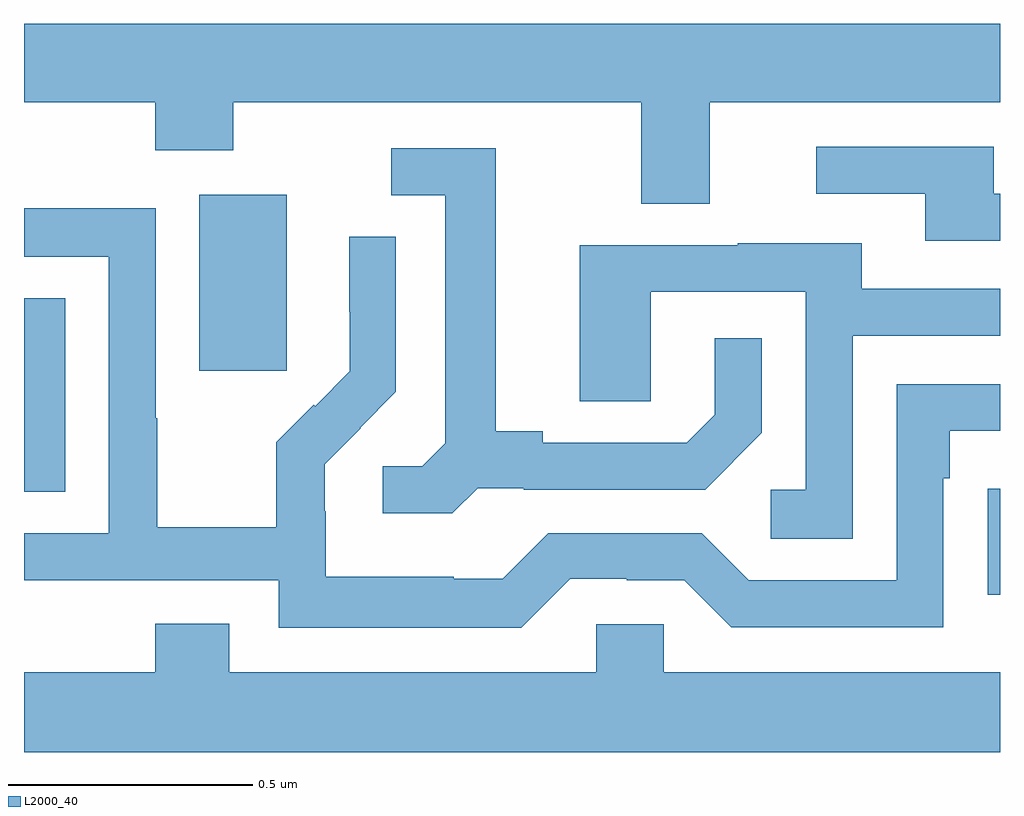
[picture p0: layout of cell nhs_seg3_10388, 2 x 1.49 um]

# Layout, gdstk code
import gdstk
lib = gdstk.Library(unit=1e-6, precision=1e-09)
def R(c, l, rs):  # rectangles x0, y0, x1, y1
    for r in rs: c.add(gdstk.rectangle(r[:2], r[2:], *l))
def P(c, l, *ps):  # polygons
    for p in ps: c.add(gdstk.Polygon(p, *l))
L2000_40 = (2000, 40)

nhs_seg3_10388 = lib.new_cell('nhs_seg3_10388')
R(nhs_seg3_10388, L2000_40, [(241.975,709.23,242,709.448), (240,709.441,240.085,709.838), (240.359,709.689,240.538,710.05)])
P(nhs_seg3_10388, L2000_40, [(241.405,710.24),(242,710.24),(242,710.4),(240,710.4),(240,710.24),(240.269,710.24),(240.269,710.141),(240.429,710.141),(240.429,710.24),(241.265,710.24),(241.265,710.032),(241.405,710.032)],
  [(242,710.052),(241.987,710.052),(241.987,710.148),(241.623,710.148),(241.623,710.052),(241.847,710.052),(241.847,709.956),(242,709.956)],
  [(240.93,709.449),(241.024,709.449),(241.024,709.446),(241.396,709.446),(241.512,709.562),(241.512,709.756),(241.415,709.756),(241.415,709.599),(241.358,709.542),(241.063,709.542),(241.063,709.565),(240.967,709.565),(240.967,710.145),(240.753,710.145),(240.753,710.049),(240.863,710.049),(240.863,709.541),(240.816,709.494),(240.735,709.494),(240.735,709.397),(240.878,709.397)],
  [(241.119,709.263),(241.235,709.263),(241.235,709.26),(241.353,709.26),(241.449,709.164),(241.884,709.164),(241.884,709.469),(241.897,709.469),(241.897,709.566),(242,709.566),(242,709.662),(241.788,709.662),(241.788,709.26),(241.485,709.26),(241.389,709.356),(241.074,709.356),(240.981,709.263),(240.881,709.263),(240.881,709.267),(240.618,709.267),(240.618,709.401),(240.616,709.401),(240.616,709.498),(240.69,709.572),(240.689,709.573),(240.762,709.646),(240.762,709.964),(240.666,709.964),(240.666,709.81),(240.668,709.81),(240.668,709.688),(240.597,709.617),(240.594,709.62),(240.517,709.543),(240.517,709.369),(240.273,709.369),(240.273,709.592),(240.27,709.592),(240.27,710.022),(240,710.022),(240,709.923),(240.174,709.923),(240.174,709.356),(240,709.356),(240,709.26),(240.522,709.26),(240.522,709.163),(241.019,709.163)],
  [(241.698,709.761),(242,709.761),(242,709.857),(241.717,709.857),(241.717,709.951),(241.463,709.951),(241.463,709.947),(241.139,709.947),(241.139,709.627),(241.284,709.627),(241.284,709.851),(241.602,709.851),(241.602,709.446),(241.53,709.446),(241.53,709.345),(241.698,709.345)],
  [(242,709.072),(241.311,709.072),(241.311,709.17),(241.173,709.17),(241.173,709.072),(240.421,709.072),(240.421,709.171),(240.269,709.171),(240.269,709.072),(240,709.072),(240,708.908),(242,708.908)])

lib.write_gds('nhs_seg3_10388.gds')
